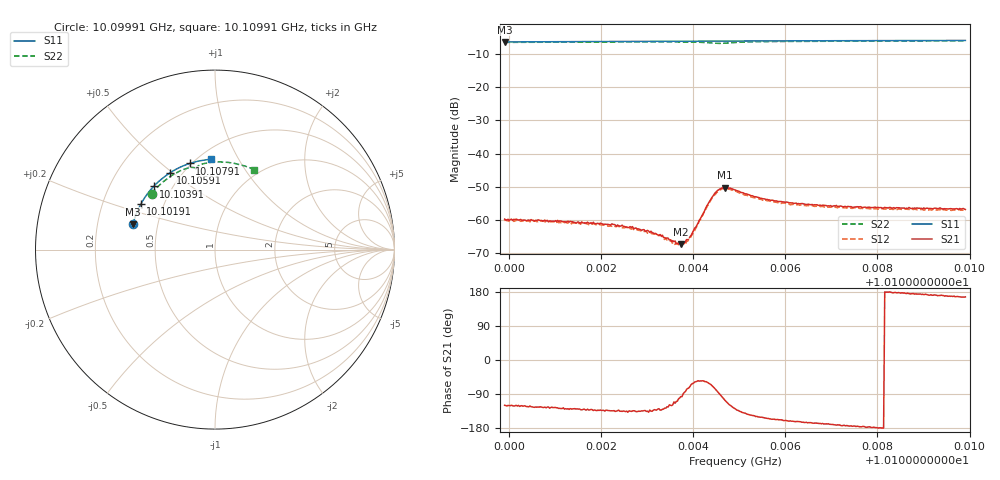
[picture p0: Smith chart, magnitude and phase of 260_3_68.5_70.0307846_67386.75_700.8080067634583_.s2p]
#  HZ  S  RI  R  50.00
! Rohde & Schwarz Vector Network Analyzer
! Rohde-Schwarz,ZNB20-2Port,1311601062101988,3.16
! Created: UTC 3/20/2024, 5:00:13 PM
! freq[Hz]  re:S11  im:S11  re:S21  im:S21  re:S12  im:S12  re:S22  im:S22
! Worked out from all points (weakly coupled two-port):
!   401 points, 10.09991 GHz to 10.10991 GHz, reference 50 ohm
!   highest |S21| = -50.25 dB at 10.10468 GHz (marker M1); lowest = -67.4 dB at 10.10373 GHz (marker M2)
!   lowest |S11| = -6.4 dB at 10.09991 GHz (marker M3), VSWR 2.83, Z = 18 + j6.55 ohm
!   |S11| at or under -10 dB: nowhere
!   |S22| runs from -6.8 to -6.1 dB; largest |S21 - S12| = 0.00031
!   S11 on the Smith chart (normalised r, x): 10.09991 GHz: 0.36, +0.13; 10.10191 GHz: 0.37, +0.25; 10.10391 GHz: 0.39, +0.37; 10.10591 GHz: 0.43, +0.49; 10.10791 GHz: 0.49, +0.63; 10.10991 GHz: 0.58, +0.78
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1.0099909e10  -0.457 0.1403  -0.000509 -0.000896  -0.000409 -0.000888  -0.3536 0.3111
1.0101584e10  -0.4223 0.236  -0.00062 -0.000699  -0.00054 -0.000743  -0.2768 0.3873
1.0101909e10  -0.4131 0.2537  -0.000608 -0.000639  -0.000528 -0.000665  -0.2598 0.4001
1.0102684e10  -0.3886 0.2938  -0.000557 -0.000568  -0.000489 -0.000567  -0.2169 0.4271
1.0103059e10  -0.3754 0.3124  -0.000437 -0.000481  -0.000416 -0.000489  -0.1945 0.4386
1.0103259e10  -0.3679 0.322  -0.000362 -0.000454  -0.000345 -0.000481  -0.182 0.444
1.0103609e10  -0.3543 0.3383  -0.000198 -0.000442  -0.000153 -0.000403  -0.159 0.4524
1.0103734e10  -0.3494 0.344  -4.84e-05 -0.000426  -2.32e-05 -0.000411  -0.1504 0.4549
1.0103834e10  -0.3453 0.3485  5.64e-05 -0.000467  8.19e-05 -0.000417  -0.1429 0.4565
1.0103909e10  -0.3421 0.3518  0.00015 -0.000516  0.000193 -0.000479  -0.1375 0.4574
1.0103984e10  -0.3389 0.3551  0.000299 -0.000568  0.000298 -0.000531  -0.1318 0.458
1.0104109e10  -0.3337 0.3605  0.000522 -0.000739  0.000541 -0.000679  -0.122 0.458
1.0104408e10  -0.3207 0.3731  0.000834 -0.00203  0.000989 -0.00188  -0.1027 0.4484
1.0104533e10  -0.3152 0.3783  0.000289 -0.00278  0.000499 -0.00261  -0.1027 0.4431
1.0104683e10  -0.3085 0.3842  -0.000837 -0.00296  -0.000525 -0.00292  -0.1064 0.4456
1.0104908e10  -0.2982 0.393  -0.00176 -0.00222  -0.00151 -0.00226  -0.1015 0.4592
1.0105458e10  -0.2718 0.4136  -0.00186 -0.00103  -0.0017 -0.00115  -0.0656 0.4783
1.0105908e10  -0.2493 0.4289  -0.00176 -0.000715  -0.00159 -0.000781  -0.0351 0.4847
1.0106583e10  -0.2138 0.4493  -0.00166 -0.000404  -0.00155 -0.000539  0.00962 0.4884
1.0107908e10  -0.1399 0.4801  -0.00154 -6.89e-05  -0.00145 -0.000201  0.095 0.4829
1.0108258e10  -0.1197 0.4864  -0.00155 4.11e-06  -0.00145 -9.15e-05  0.117 0.4788
1.0109907e10  -0.0215 0.5029  -0.0014 0.000334  -0.0014 0.000173  0.2168 0.4459
